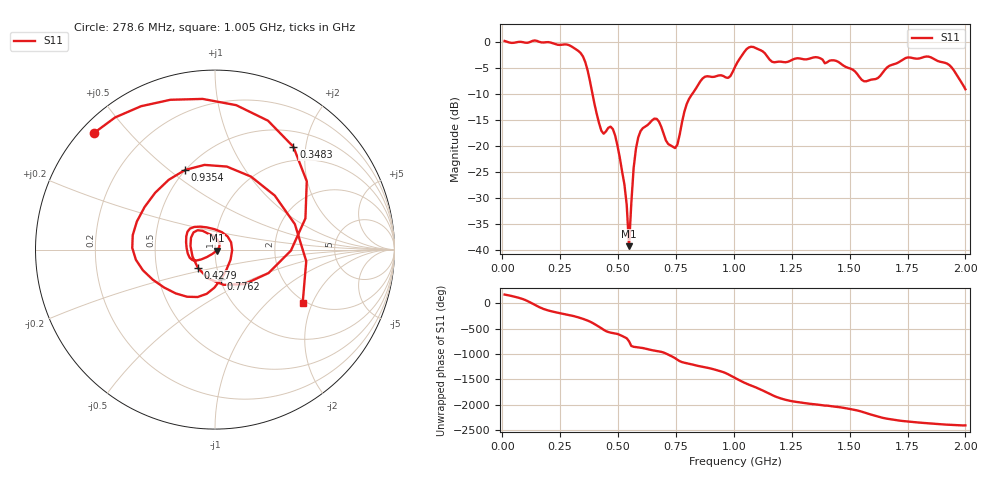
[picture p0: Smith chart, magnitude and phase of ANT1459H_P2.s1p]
!Created with skrf (http://scikit-rf.org).
# Hz S RI R 50.0
!freq ReS11 ImS11
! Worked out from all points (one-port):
!   201 points, 10 MHz to 2 GHz, reference 50 ohm
!   lowest |S11| = -39.2 dB at 547.3 MHz (marker M1), VSWR 1.02, Z = 51 - j0.55 ohm
!   |S11| at or under -10 dB: 389.3 MHz to 820.9 MHz (431.6 MHz wide, 71.3 % of centre)
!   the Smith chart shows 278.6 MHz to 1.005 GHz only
!   S11 on the Smith chart (normalised r, x): 278.6 MHz: 0.04, +0.40; 348.3 MHz: 0.75, +1.78; 427.9 MHz: 0.81, -0.17; 776.1 MHz: 1.01, -0.34; 935.4 MHz: 0.50, +0.57; 1.005 GHz: 1.92, -1.70
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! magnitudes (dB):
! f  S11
! 10 MHz  0.1
! 258.8 MHz  -0.6
! 278.6 MHz  -0.6
! 348.3 MHz  -2.8
! 427.9 MHz  -17.1
! 477.6 MHz  -16.8
! 507.5 MHz  -22.2
! 537.4 MHz  -31.3
! 547.3 MHz  -39.2
! 567.2 MHz  -24.2
! 597 MHz  -17.1
! 666.7 MHz  -14.8
! 716.5 MHz  -19.6
! 756.2 MHz  -19.7
! 776.1 MHz  -15.5
! 806 MHz  -11.0
! 855.8 MHz  -7.6
! 935.4 MHz  -6.5
! 975.1 MHz  -7.0
! 1.005 GHz  -4.9
! 1.075 GHz  -1.0
! 1.164 GHz  -3.8
! 1.254 GHz  -3.5
! 1.502 GHz  -5.2
! 1.572 GHz  -7.6
! 1.751 GHz  -3.0
! 1.92 GHz  -4.2
! 2 GHz  -9.1
